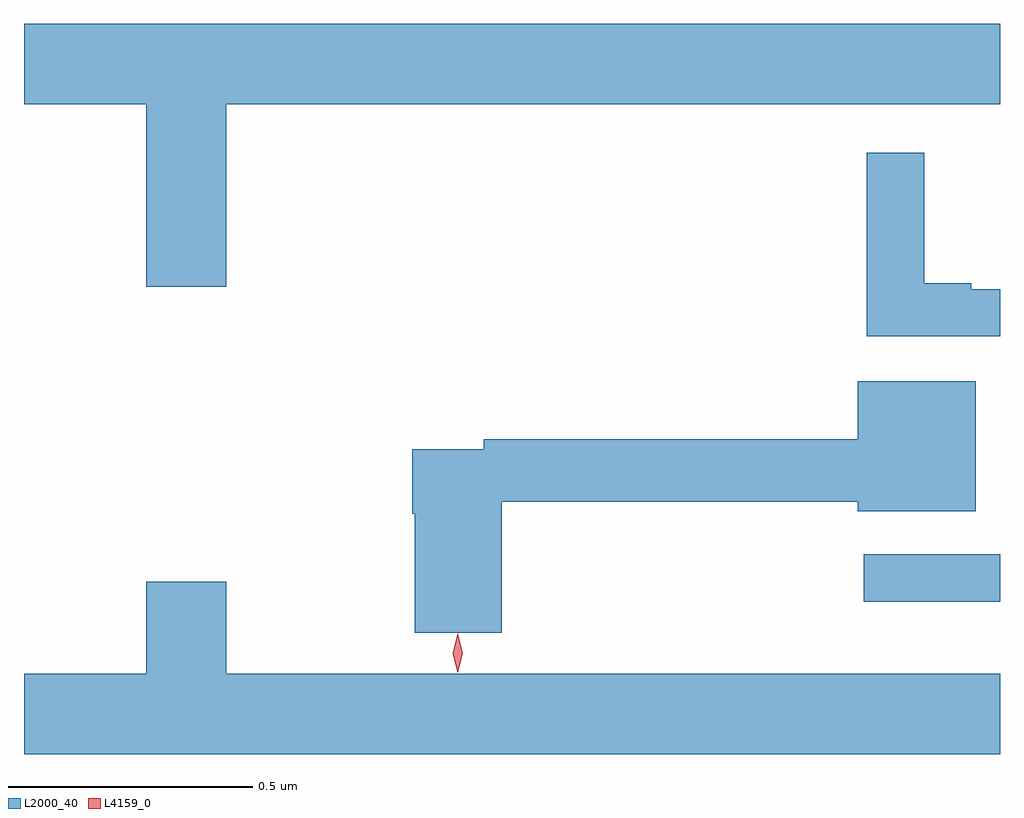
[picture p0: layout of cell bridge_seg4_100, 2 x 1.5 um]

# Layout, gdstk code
import gdstk
lib = gdstk.Library(unit=1e-6, precision=1e-09)
def R(c, l, rs):  # rectangles x0, y0, x1, y1
    for r in rs: c.add(gdstk.rectangle(r[:2], r[2:], *l))
def P(c, l, *ps):  # polygons
    for p in ps: c.add(gdstk.Polygon(p, *l))
L2000_40 = (2000, 40)
L4159_0 = (4159, 0)

bridge_seg4_100 = lib.new_cell('bridge_seg4_100')
R(bridge_seg4_100, L2000_40, [(394.251,803.792,394.53,803.889)])
P(bridge_seg4_100, L2000_40, [(392.944,804.812),(394.53,804.812),(394.53,804.976),(392.53,804.976),(392.53,804.812),(392.78,804.812),(392.78,804.438),(392.944,804.438)],
  [(394.53,804.432),(394.471,804.432),(394.471,804.445),(394.375,804.445),(394.375,804.712),(394.257,804.712),(394.257,804.336),(394.53,804.336)],
  [(393.509,803.997),(394.238,803.997),(394.238,803.978),(394.48,803.978),(394.48,804.244),(394.238,804.244),(394.238,804.125),(393.472,804.125),(393.472,804.105),(393.326,804.105),(393.326,803.972),(393.331,803.972),(393.331,803.729),(393.509,803.729)],
  [(394.53,803.644),(392.944,803.644),(392.944,803.833),(392.78,803.833),(392.78,803.644),(392.53,803.644),(392.53,803.48),(394.53,803.48)])
P(bridge_seg4_100, L4159_0, [(393.419,803.647),(393.419,803.647),(393.409,803.687),(393.419,803.727),(393.419,803.728),(393.419,803.727),(393.429,803.687),(393.419,803.647)])

lib.write_gds('bridge_seg4_100.gds')
